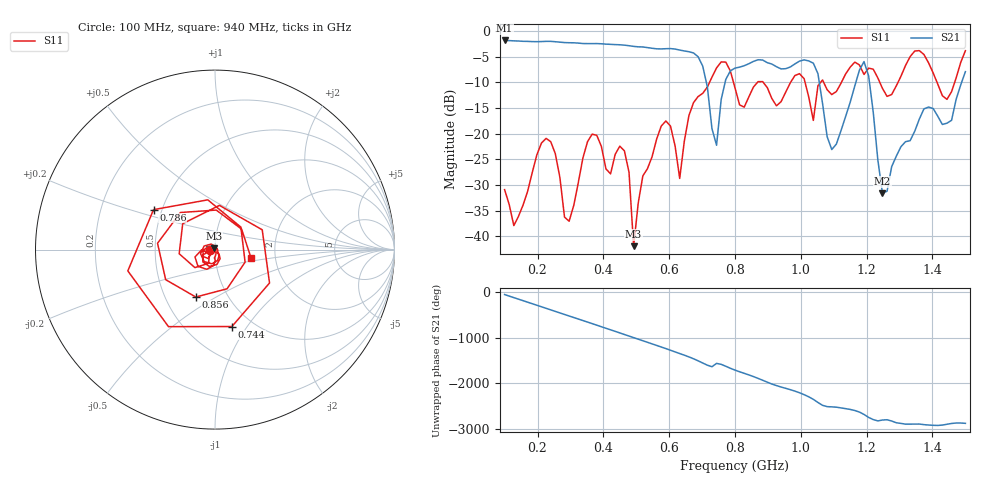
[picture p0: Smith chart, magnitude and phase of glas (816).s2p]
! NanoVNA-App
! Date: 2025-09-25 16:01:49
! Start: 100MHz Stop: 1,5GHz Points: 101
! S-Parameter data: F S11 S21 S12 S22
# Hz S RI R 50
!  Frequency  S11_Real  S11_Imag  S21_Real  S21_Imag  S12_Real  S12_Imag  S22_Real  S22_Imag
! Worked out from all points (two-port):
!   101 points, 100 MHz to 1.5 GHz, reference 50 ohm
!   highest |S21| = -1.80 dB at 100 MHz (marker M1); lowest = -31.6 dB at 1.248 GHz (marker M2)
!   |S21| within 3 dB of the highest: start of sweep to 684.5 MHz
!   lowest |S11| = -42.0 dB at 492 MHz (marker M3), VSWR 1.02, Z = 49.5 + j0.616 ohm
!   |S11| at or under -10 dB: start of sweep to 722.5 MHz; 795.5 MHz to 868 MHz (72.47 MHz wide, 8.71 % of centre); 886 MHz to 968.7 MHz (82.75 MHz wide, 8.92 % of centre)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
!   S12 and S22 are empty: the file has one direction only
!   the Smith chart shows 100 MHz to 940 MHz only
!   S11 on the Smith chart (normalised r, x): 100 MHz: 0.94, -0.01; 744 MHz: 0.80, -0.85; 786 MHz: 0.45, +0.24; 856 MHz: 0.71, -0.41; 940 MHz: 1.49, -0.14
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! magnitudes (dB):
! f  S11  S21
! 100 MHz  -30.9  -1.8
! 128 MHz  -37.9  -1.9
! 226 MHz  -20.9  -2.0
! 296 MHz  -37.1  -2.2
! 338 MHz  -24.7  -2.4
! 464 MHz  -23.3  -2.7
! 492 MHz  -42.0  -3.0
! 576 MHz  -18.5  -3.5
! 632 MHz  -28.7  -3.7
! 702 MHz  -12.1  -6.8
! 744 MHz  -7.2  -22.3
! 786 MHz  -7.8  -7.7
! 800 MHz  -11.1  -7.2
! 856 MHz  -10.9  -5.9
! 940 MHz  -13.7  -7.4
! 996 MHz  -8.3  -5.8
! 1.038 GHz  -17.4  -6.2
! 1.094 GHz  -12.4  -23.1
! 1.192 GHz  -8.4  -5.9
! 1.248 GHz  -11.2  -31.6
! 1.276 GHz  -12.4  -26.4
! 1.5 GHz  -3.8  -7.9
